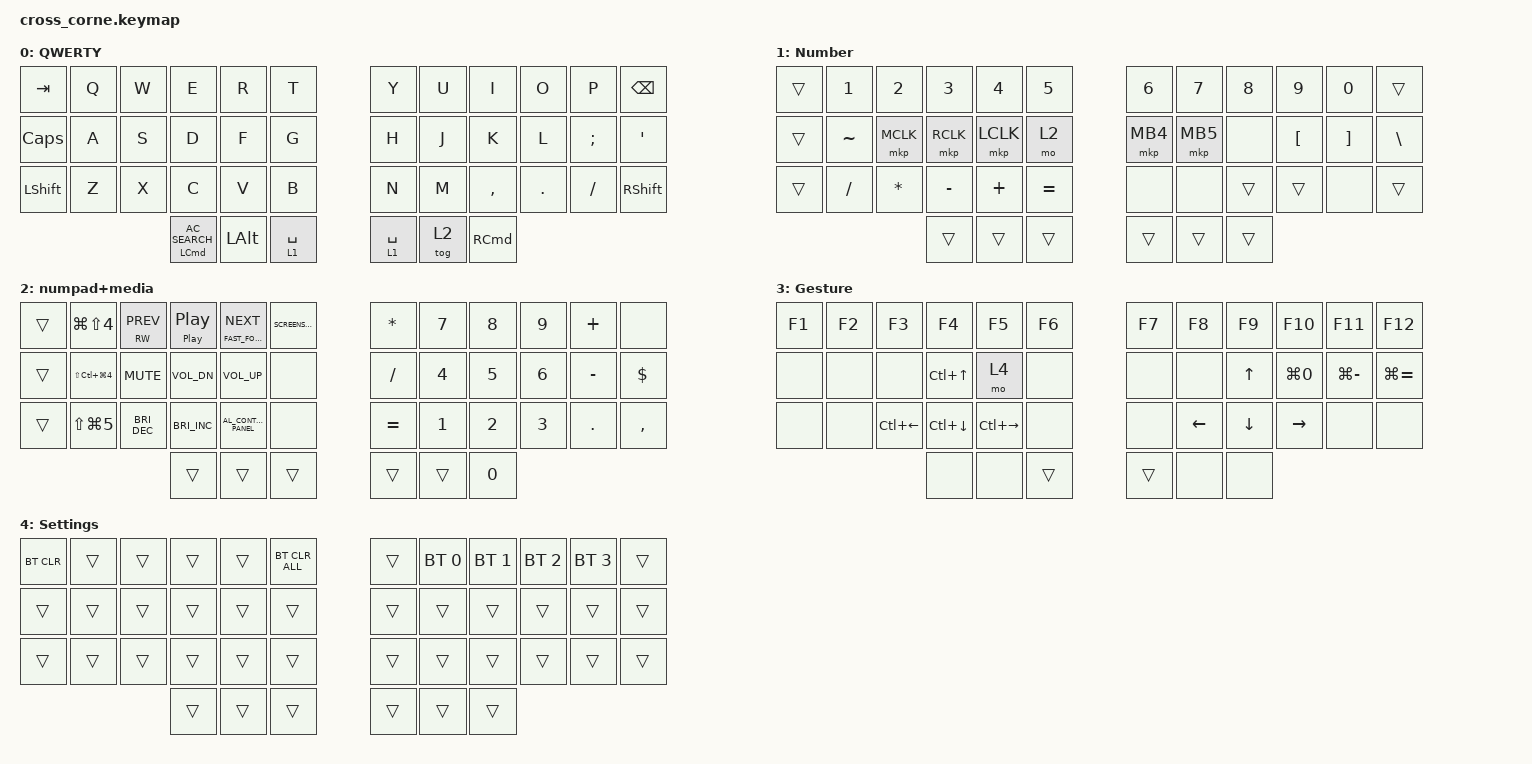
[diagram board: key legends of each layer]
#include <dt-bindings/zmk/mouse.h>
#include <behaviors.dtsi>
#include <dt-bindings/zmk/bt.h>
#include <dt-bindings/zmk/keys.h>
#include <dt-bindings/zmk/pointing.h>

&lt {
    tapping-term-ms = <200>;
    flavor = "balanced";
    quick-tap-ms = <150>;
};

/ {
    chosen {
        zmk,matrix_transform = &default_transform;

        // zmk,matrix_transform = &five_column_transform;
    };
};

/ {
    //  Add tri-layer behavior here

    behaviors {
        tri_layer: sl_layer {
            compatible = "urob,zmk-behavior-simple-layer";
            label = "TRI_LAYER";
            layers = <1 2>;        // These are LWR and RSE layers
            target-layer = <3>;    // Layer 3 will activate when both are held
        };
    };

    combos {
        compatible = "zmk,combos";

        Enter {
            bindings = <&kp ENTER>;
            key-positions = <21 20>;
        };

        backspace {
            bindings = <&kp BACKSPACE>;
            key-positions = <8 9>;
        };

        esc {
            bindings = <&kp ESC>;
            key-positions = <2 3>;
        };

        gesture {
            bindings = <&mo 3>;
            key-positions = <38 39>;
        };

        backspace2 {
            bindings = <&kp BACKSPACE>;
            key-positions = <10 9>;
        };

        enter2 {
            bindings = <&kp ENTER>;
            key-positions = <22 21>;
        };

        esc2 {
            bindings = <&kp ESCAPE>;
            key-positions = <1 2>;
        };

        delete {
            bindings = <&kp DELETE>;
            key-positions = <8 9>;
            layers = <3>;
        };

        ctrl_combo {
            bindings = <&kp LCTRL>;
            key-positions = <36 41>;
        };
    };

    keymap {
        compatible = "zmk,keymap";

        Primary {
            display-name = "QWERTY";
            bindings = <
&kp TAB         &kp Q  &kp W  &kp E                         &kp R         &kp T          &kp Y        &kp U   &kp I              &kp O    &kp P     &kp BSPC
&kp CAPSLOCK    &kp A  &kp S  &kp D                         &kp F         &kp G          &kp H        &kp J   &kp K              &kp L    &kp SEMI  &kp SQT
&kp LEFT_SHIFT  &kp Z  &kp X  &kp C                         &kp V         &kp B          &kp N        &kp M   &kp COMMA          &kp DOT  &kp FSLH  &kp RIGHT_SHIFT
                              &mt LEFT_COMMAND C_AC_SEARCH  &kp LEFT_ALT  &lt 1 SPACE    &lt 1 SPACE  &tog 2  &kp RIGHT_COMMAND
            >;
        };

        Secondary {
            display-name = "Number";
            bindings = <
&trans  &kp NUMBER_1  &kp NUMBER_2  &kp NUMBER_3  &kp NUMBER_4  &kp N5       &kp NUMBER_6  &kp N7    &kp N8  &kp N9            &kp N0             &trans
&trans  &kp TILDE     &mkp MCLK     &mkp RCLK     &mkp LCLK     &mo 2        &mkp MB4      &mkp MB5  &none   &kp LEFT_BRACKET  &kp RIGHT_BRACKET  &kp BACKSLASH
&trans  &kp SLASH     &kp ASTERISK  &kp MINUS     &kp PLUS      &kp EQUAL    &none         &none     &trans  &trans            &none              &trans
                                    &trans        &trans        &trans       &trans        &trans    &trans
            >;
        };

        numpad+media {
            bindings = <
&trans  &kp LG(LS(NUMBER_4))      &mt C_RW C_PREV       &mt C_PP C_PP         &mt C_FAST_FORWARD C_NEXT  &kp K_SCREENSAVER    &kp ASTERISK  &kp N7        &kp N8        &kp N9        &kp PLUS    &none
&trans  &kp LS(LC(LG(NUMBER_4)))  &kp K_MUTE            &kp C_VOL_DN          &kp C_VOLUME_UP            &none                &kp SLASH     &kp NUMBER_4  &kp N5        &kp NUMBER_6  &kp MINUS   &kp DOLLAR
&trans  &kp LS(LG(N5))            &kp C_BRIGHTNESS_DEC  &kp C_BRIGHTNESS_INC  &kp C_AL_CONTROL_PANEL     &none                &kp EQUAL     &kp NUMBER_1  &kp NUMBER_2  &kp NUMBER_3  &kp PERIOD  &kp COMMA
                                                        &trans                &trans                     &trans               &trans        &trans        &kp N0
            >;
        };

        Gesture {
            bindings = <
&kp F1  &kp F2  &kp F3              &kp F4            &kp F5         &kp F6    &kp F7  &kp F8          &kp F9          &kp F10     &kp F11        &kp F12
&none   &none   &none               &kp LC(UP_ARROW)  &mo 4          &none     &none   &none           &kp UP_ARROW    &kp LG(N0)  &kp LG(MINUS)  &kp LG(EQUAL)
&none   &none   &kp LC(LEFT_ARROW)  &kp LC(DOWN)      &kp LC(RIGHT)  &none     &none   &kp LEFT_ARROW  &kp DOWN_ARROW  &kp RIGHT   &none          &none
                                    &none             &none          &trans    &trans  &none           &none
            >;
        };

        Settings {
            bindings = <
&bt BT_CLR  &trans  &trans  &trans  &trans  &bt BT_CLR_ALL    &trans  &bt BT_SEL 0  &bt BT_SEL 1  &bt BT_SEL 2  &bt BT_SEL 3  &trans
&trans      &trans  &trans  &trans  &trans  &trans            &trans  &trans        &trans        &trans        &trans        &trans
&trans      &trans  &trans  &trans  &trans  &trans            &trans  &trans        &trans        &trans        &trans        &trans
                            &trans  &trans  &trans            &trans  &trans        &trans
            >;
        };
    };
};
